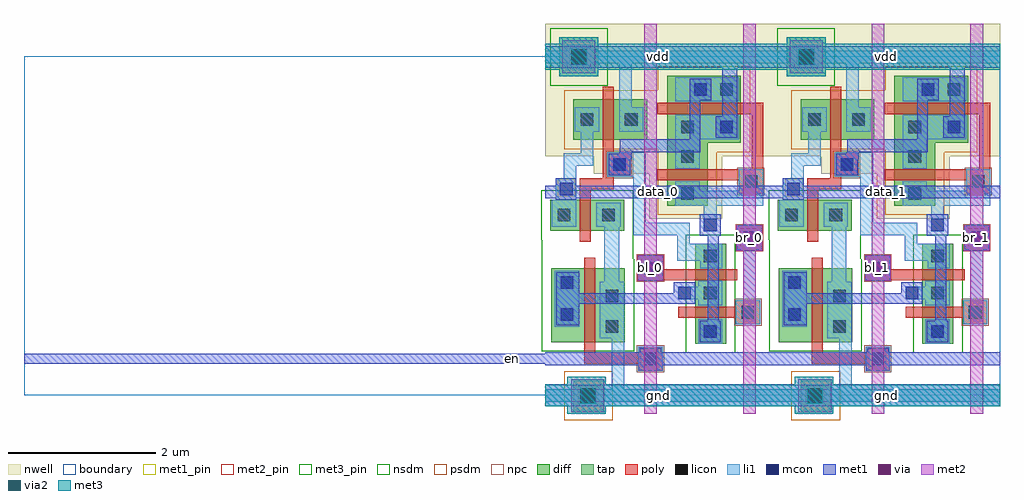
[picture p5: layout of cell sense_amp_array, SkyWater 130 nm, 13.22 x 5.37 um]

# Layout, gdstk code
import gdstk
lib = gdstk.Library(unit=1e-6, precision=1e-09)
def R(c, l, rs):  # rectangles x0, y0, x1, y1
    for r in rs: c.add(gdstk.rectangle(r[:2], r[2:], *l))
nwell = (64, 20)
diff = (65, 20)
tap = (65, 44)
poly = (66, 20)
licon = (66, 44)
li1 = (67, 20)
mcon = (67, 44)
met1_pin = (68, 16)
met1 = (68, 20)
via = (68, 44)
met2_pin = (69, 16)
met2 = (69, 20)
via2 = (69, 44)
met3_pin = (70, 16)
met3 = (70, 20)
nsdm = (93, 44)
psdm = (94, 20)
npc = (95, 20)
boundary = (235, 4)

sense_amp = lib.new_cell('sense_amp')
R(sense_amp, nwell, [(1.41,2.39,2.4,3), (0.66,3,2.4,3.24), (0,3.24,3.08,5.03)])
R(sense_amp, diff, [(2.03,0.7,2.45,2.05), (0.08,0.72,1.08,1.72), (0.07,2.23,1.07,2.65), (1.65,2.57,2.2,3.42), (1.65,3.42,2.65,4.33), (0.38,3.46,1.38,4.01)])
R(sense_amp, tap, [(0.38,-0.21,0.79,0.2), (0.19,4.32,0.72,4.85)])
R(sense_amp, poly, [(1.26,0.33,1.59,0.43), (0.53,0.43,1.59,0.58), (0.53,0.58,0.68,1.86), (1.26,0.58,1.59,0.66), (2.58,0.96,2.91,1.05), (1.8,1.05,2.91,1.2), (2.58,1.2,2.91,1.29), (1.35,1.55,1.5,1.56), (1.26,1.56,2.6,1.71), (1.26,1.71,1.59,1.89), (2.6,1.97,2.93,2.3), (0.47,2.08,0.62,2.79), (2.62,2.73,2.95,2.91), (0.47,2.79,0.93,2.94), (1.52,2.91,2.95,3.06), (0.78,2.94,0.93,2.96), (0.78,2.96,1.17,3.29), (2.8,3.06,2.95,3.81), (0.78,3.29,0.93,4.18), (1.52,3.81,2.95,3.96)])
R(sense_amp, licon, [(0.5,-0.09,0.67,0.08), (1.34,0.41,1.51,0.58), (2.15,0.78,2.32,0.95), (0.82,0.85,0.99,1.02), (0.21,1.01,0.38,1.18), (2.66,1.04,2.83,1.21), (0.82,1.26,0.99,1.43), (2.15,1.3,2.32,1.47), (0.21,1.44,0.38,1.61), (1.34,1.64,1.51,1.81), (2.15,1.8,2.32,1.97), (2.68,2.05,2.85,2.22), (0.17,2.36,0.34,2.53), (0.77,2.36,0.94,2.53), (1.84,2.65,2.01,2.82), (2.7,2.81,2.87,2.98), (0.92,3.04,1.09,3.21), (1.84,3.15,2.01,3.32), (1.84,3.55,2.01,3.72), (2.37,3.55,2.54,3.72), (0.48,3.65,0.65,3.82), (1.08,3.65,1.25,3.82), (2.02,4.06,2.19,4.23), (2.37,4.06,2.54,4.23), (0.37,4.5,0.54,4.67)])
R(sense_amp, li1, [(0,-0.09,3.08,0.08), (0.9,0.08,1.07,0.77), (1.26,0.33,1.59,0.66), (2.07,0.7,2.4,1.03), (0.74,0.77,1.07,1.54), (0.13,0.93,0.46,1.69), (2.58,0.96,2.91,1.29), (2.07,1.22,2.4,1.3), (2.68,1.29,2.85,1.97), (1.8,1.3,2.4,1.47), (2.07,1.47,2.4,1.55), (0.8,1.54,1,2.28), (1.26,1.56,1.59,1.89), (2.1,1.72,2.4,1.82), (1.79,1.82,2.4,2.05), (2.6,1.97,2.93,2.3), (1.79,2.05,1.96,2.17), (1.19,2.17,1.96,2.34), (2.15,2.22,2.32,2.57), (0.09,2.28,0.42,2.65), (0.69,2.28,1.02,2.61), (1.19,2.34,1.36,2.96), (1.76,2.57,2.95,2.77), (0.14,2.65,0.42,2.94), (1.76,2.77,2.09,2.9), (2.62,2.77,2.95,3.06), (0.25,2.94,0.42,3.11), (0.84,2.96,1.36,3.29), (1.76,3.07,2.09,3.47), (0.25,3.11,0.65,3.28), (0.48,3.28,0.65,3.57), (1.76,3.47,2.62,3.8), (0.4,3.57,0.73,3.9), (1,3.57,1.33,3.9), (1,3.9,1.17,4.5), (1.76,3.98,2.62,4.31), (0.29,4.42,0.62,4.5), (0,4.5,3.08,4.67), (0.29,4.67,0.62,4.75)])
R(sense_amp, mcon, [(0.5,-0.09,0.67,0.08), (1.34,0.41,1.51,0.58), (2.15,0.78,2.32,0.95), (0.21,1.01,0.38,1.18), (1.8,1.3,1.97,1.47), (0.21,1.44,0.38,1.61), (1.34,1.64,1.51,1.81), (2.68,2.05,2.85,2.22), (2.15,2.22,2.32,2.39), (0.2,2.71,0.37,2.88), (0.92,3.04,1.09,3.21), (2.37,3.55,2.54,3.72), (2.02,4.06,2.19,4.23), (0.37,4.5,0.54,4.67)])
R(sense_amp, met1_pin, [(1.29,0.39,1.53,0.63), (0.17,2.69,0.41,2.93)])
R(sense_amp, met1, [(0,-0.15,3.08,0.14), (1.26,0.33,1.59,0.41), (0,0.41,3.08,0.58), (0,0.41,3.08,0.58), (1.28,0.58,1.57,0.64), (2.09,0.72,2.38,1.01), (0.15,0.95,0.46,1.24), (2.2,1.01,2.35,2.16), (0.15,1.24,2.03,1.38), (0.15,1.38,0.46,1.67), (1.74,1.38,2.03,1.53), (1.25,1.55,1.6,1.9), (2.59,1.96,2.94,2.31), (2.09,2.16,2.38,2.45), (0.14,2.65,0.42,2.67), (0,2.67,3.08,2.84), (0,2.67,3.08,2.84), (0.14,2.84,0.42,2.94), (0.86,2.98,1.15,3.2), (0.86,3.2,1.17,3.27), (1,3.27,1.17,3.29), (1.01,3.29,2.1,3.47), (1.96,3.47,2.1,4), (2.31,3.49,2.6,3.78), (2.4,3.78,2.6,4.44), (1.96,4,2.25,4.29), (0,4.44,3.08,4.73)])
R(sense_amp, via, [(0.5,-0.08,0.65,0.07), (1.35,1.65,1.5,1.8), (2.69,2.06,2.84,2.21), (0.38,4.51,0.53,4.66)])
R(sense_amp, met2_pin, [(1.3,1.61,1.54,1.85), (2.64,2.02,2.88,2.26)])
R(sense_amp, met2, [(1.34,-0.25,1.51,1.55), (2.68,-0.25,2.85,1.96), (0.35,-0.23,0.8,0.22), (1.25,1.55,1.6,1.9), (1.25,1.55,1.6,1.9), (1.34,1.9,1.51,5.03), (2.59,1.96,2.94,2.31), (2.59,1.96,2.94,2.31), (2.68,2.31,2.85,5.03), (0.23,4.36,0.68,4.81)])
R(sense_amp, via2, [(0.475,-0.105,0.675,0.095), (0.355,4.485,0.555,4.685)])
R(sense_amp, met3_pin, [(0.45,-0.11,0.69,0.13), (0.33,4.47,0.57,4.71)])
R(sense_amp, met3, [(0.3,-0.25,0.82,-0.15), (0,-0.15,3.08,0.15), (0,-0.15,3.08,0.15), (0.3,0.15,0.82,0.25), (0.19,4.32,0.72,4.41), (0,4.41,3.08,4.76), (0,4.41,3.08,4.76), (0.19,4.76,0.72,4.85)])
R(sense_amp, nsdm, [(1.905,0.575,2.575,2.175), (-0.045,0.595,1.205,1.845), (-0.045,1.845,1.195,2.105), (-0.055,2.105,1.195,2.775), (0.065,4.195,0.845,4.975)])
R(sense_amp, psdm, [(0.255,-0.335,0.915,0.325), (1.525,2.445,2.325,3.295), (1.525,3.295,2.775,3.335), (0.255,3.335,2.775,4.135), (1.525,4.135,2.775,4.455)])
R(sense_amp, npc, [(1.24,0.31,1.61,0.68), (2.56,0.94,2.93,1.31), (1.24,1.54,1.61,1.91), (2.58,1.95,2.95,2.32), (2.6,2.71,2.97,3.08), (0.82,2.94,1.19,3.31)])
R(sense_amp, boundary, [(0,0,3.08,4.59)])
sense_amp.add(gdstk.Label('bl', (1.42,1.73), layer=69, texttype=16))
sense_amp.add(gdstk.Label('br', (2.76,2.14), layer=69, texttype=16))
sense_amp.add(gdstk.Label('dout', (0.29,2.81), layer=68, texttype=16))
sense_amp.add(gdstk.Label('en', (1.41,0.51), layer=68, texttype=16))
sense_amp.add(gdstk.Label('vdd', (0.45,4.59), layer=70, texttype=16))
sense_amp.add(gdstk.Label('gnd', (0.57,0.01), layer=70, texttype=16))
sense_amp.add(gdstk.Label('bl', (1.425,1.725), layer=69, texttype=20))
sense_amp.add(gdstk.Label('br', (2.765,2.135), layer=69, texttype=20))
sense_amp.add(gdstk.Label('dout', (1.54,2.755), layer=68, texttype=20))
sense_amp.add(gdstk.Label('en', (1.54,0.495), layer=68, texttype=20))
sense_amp.add(gdstk.Label('vdd', (1.54,4.585), layer=70, texttype=20))
sense_amp.add(gdstk.Label('gnd', (1.54,0), layer=70, texttype=20))

sense_amp_array = lib.new_cell('sense_amp_array')
R(sense_amp_array, met1, [(0,0.425,13.22,0.565), (8.53,0.425,8.67,0.565), (11.61,0.425,11.75,0.565), (7.06,2.67,10.14,2.84), (10.14,2.67,13.22,2.84)])
R(sense_amp_array, met2, [(8.31,1.55,8.66,1.9), (11.39,1.55,11.74,1.9), (9.65,1.96,10,2.31), (12.73,1.96,13.08,2.31)])
R(sense_amp_array, met3, [(8.45,-0.15,8.75,0.15), (11.53,-0.15,11.83,0.15), (8.45,4.435,8.75,4.735), (11.53,4.435,11.83,4.735)])
R(sense_amp_array, boundary, [(0,0,13.22,4.59)])
sense_amp_array.add(gdstk.Reference(sense_amp, (7.06,0)))
sense_amp_array.add(gdstk.Reference(sense_amp, (10.14,0)))
sense_amp_array.add(gdstk.Label('gnd', (8.6,0), layer=70, texttype=20))
sense_amp_array.add(gdstk.Label('gnd', (11.68,0), layer=70, texttype=20))
sense_amp_array.add(gdstk.Label('vdd', (11.68,4.585), layer=70, texttype=20))
sense_amp_array.add(gdstk.Label('vdd', (8.6,4.585), layer=70, texttype=20))
sense_amp_array.add(gdstk.Label('bl_0', (8.485,1.725), layer=69, texttype=20))
sense_amp_array.add(gdstk.Label('br_0', (9.825,2.135), layer=69, texttype=20))
sense_amp_array.add(gdstk.Label('data_0', (8.6,2.755), layer=68, texttype=20))
sense_amp_array.add(gdstk.Label('bl_1', (11.565,1.725), layer=69, texttype=20))
sense_amp_array.add(gdstk.Label('br_1', (12.905,2.135), layer=69, texttype=20))
sense_amp_array.add(gdstk.Label('data_1', (11.68,2.755), layer=68, texttype=20))
sense_amp_array.add(gdstk.Label('en', (6.61,0.495), layer=68, texttype=20))

lib.write_gds('sense_amp_array.gds')
